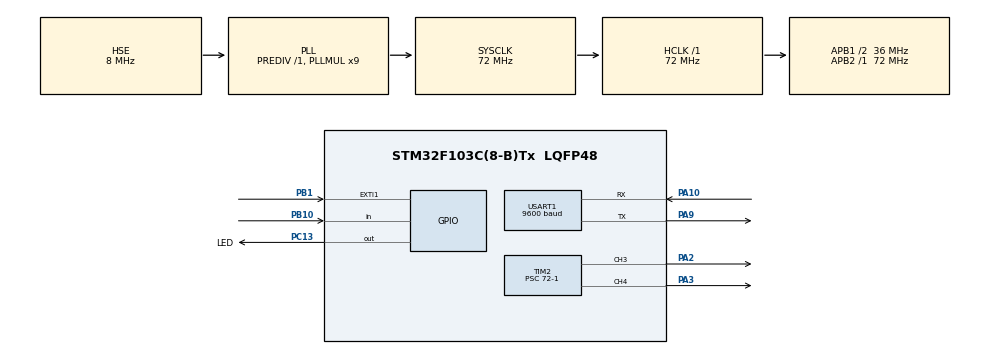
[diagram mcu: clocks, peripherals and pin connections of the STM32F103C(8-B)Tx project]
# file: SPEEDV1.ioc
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Mcu.Family=STM32F1
Mcu.Name=STM32F103C(8-B)Tx
Mcu.Package=LQFP48
NVIC.EXTI1_IRQn=true\:0\:0\:false\:false\:true\:true\:true\:true
NVIC.PriorityGroup=NVIC_PRIORITYGROUP_4
NVIC.TIM2_IRQn=true\:0\:0\:false\:false\:true\:true\:true\:true
NVIC.TIM3_IRQn=true\:0\:0\:false\:false\:true\:true\:true\:true
PA10.Mode=Asynchronous
PA10.Signal=USART1_RX
PA13.Mode=Serial_Wire
PA13.Signal=SYS_JTMS-SWDIO
PA14.Mode=Serial_Wire
PA14.Signal=SYS_JTCK-SWCLK
PA2.Signal=S_TIM2_CH3
PA3.Signal=S_TIM2_CH4
PA9.Mode=Asynchronous
PA9.Signal=USART1_TX
PB1.GPIO_PuPd=GPIO_PULLUP
PB1.Signal=GPXTI1
PB10.GPIO_PuPd=GPIO_PULLUP
PB10.Signal=GPIO_Input
PC13-TAMPER-RTC.GPIO_Label=LED
PC13-TAMPER-RTC.Signal=GPIO_Output
PD0-OSC_IN.Mode=HSE-External-Oscillator
PD0-OSC_IN.Signal=RCC_OSC_IN
PD1-OSC_OUT.Mode=HSE-External-Oscillator
PD1-OSC_OUT.Signal=RCC_OSC_OUT
ProjectManager.HeapSize=0x200
ProjectManager.StackSize=0x400
ProjectManager.TargetToolchain=STM32CubeIDE
RCC.AHBFreq_Value=72000000
RCC.APB1CLKDivider=RCC_HCLK_DIV2
RCC.APB1Freq_Value=36000000
RCC.APB1TimFreq_Value=72000000
RCC.APB2Freq_Value=72000000
RCC.APB2TimFreq_Value=72000000
RCC.HCLKFreq_Value=72000000
RCC.PLLMUL=RCC_PLL_MUL9
RCC.PLLSourceVirtual=RCC_PLLSOURCE_HSE
RCC.SYSCLKFreq_VALUE=72000000
RCC.SYSCLKSource=RCC_SYSCLKSOURCE_PLLCLK
RCC.USBFreq_Value=72000000
SH.S_TIM2_CH3.0=TIM2_CH3,PWM Generation3 CH3
SH.S_TIM2_CH4.0=TIM2_CH4,PWM Generation4 CH4
TIM2.Channel-PWM\ Generation3\ CH3=TIM_CHANNEL_3
TIM2.Channel-PWM\ Generation4\ CH4=TIM_CHANNEL_4
TIM2.Period=100-1
TIM2.Prescaler=72-1
TIM3.Period=10-1
TIM3.Prescaler=72-1
USART1.BaudRate=9600
USART1.VirtualMode=VM_ASYNC
VP_TIM2_VS_ClockSourceINT.Mode=Internal
VP_TIM3_VS_ClockSourceINT.Mode=Internal
board=custom

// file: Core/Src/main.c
/* USER CODE BEGIN Header */
/**
  ******************************************************************************
  * @file           : main.c
  * @brief          : Main program body
  ******************************************************************************
  * @attention
  *
  * Copyright (c) 2023 STMicroelectronics.
  * All rights reserved.
  *
  * This software is licensed under terms that can be found in the LICENSE file
  * in the root directory of this software component.
  * If no LICENSE file comes with this software, it is provided AS-IS.
  *
  ******************************************************************************
  */
/* USER CODE END Header */
#include "main.h"

/* USER CODE BEGIN Includes */
#include <stdlib.h>
#include <stdio.h>
int count;
volatile uint32_t time = 0 ;
uint32_t prevT= 0;
int posPrev = 0;
int speedd;
float vt;
float v1Filt = 0;
float v1FiltAc = 0;
float v1Prev = 0;
float v1PrevAc=0;
float eintergral;
char transchar[20];
float deltaT;
/* USER CODE END Includes */

TIM_HandleTypeDef htim2;
TIM_HandleTypeDef htim3;

UART_HandleTypeDef huart1;

void SystemClock_Config(void);
static void MX_GPIO_Init(void);
static void MX_TIM2_Init(void);
static void MX_TIM3_Init(void);
static void MX_USART1_UART_Init(void);

/* USER CODE BEGIN 0 */
void HAL_GPIO_EXTI_Callback(uint16_t GPIO_Pin)
{
  /* Prevent unused argument(s) compilation warning */

	if (GPIO_Pin == GPIO_PIN_1){
		if (HAL_GPIO_ReadPin(GPIOB,GPIO_PIN_10) == 0) count++;
		else count--;
	}

  /* NOTE: This function Should not be modified, when the callback is needed,
           the HAL_GPIO_EXTI_Callback could be implemented in the user file
   */
}

void HAL_TIM_PeriodElapsedCallback(TIM_HandleTypeDef *htim){
	time+=10;
}

void ControlMotor(int ChannelA, int ChannelB){
	__HAL_TIM_SET_COMPARE(&htim2, TIM_CHANNEL_3, 100-ChannelA);
	__HAL_TIM_SET_COMPARE(&htim2, TIM_CHANNEL_4, 100-ChannelB);
}

void setMotor(int dir , int pwmVal){
//	pwmVal = 100-pwmVal;
  if (dir == 1){
	  ControlMotor(0, pwmVal);
  }
  if (dir == -1){
	  ControlMotor(pwmVal, 0);
  }
  else{
	  ControlMotor(0, 0);
  }
}
/* USER CODE END 0 */

int main(void)
{

  /* MCU Configuration--------------------------------------------------------*/

  /* Reset of all peripherals, Initializes the Flash interface and the Systick. */
  HAL_Init();

  /* Configure the system clock */
  SystemClock_Config();

  /* Initialize all configured peripherals */
  MX_GPIO_Init();
  MX_TIM2_Init();
  MX_TIM3_Init();
  MX_USART1_UART_Init();
  /* USER CODE BEGIN 2 */
  HAL_TIM_PWM_Start(&htim2,TIM_CHANNEL_3);
  HAL_TIM_PWM_Start(&htim2,TIM_CHANNEL_4);
  HAL_TIM_Base_Start_IT(&htim3);
  /* USER CODE END 2 */

  /* Infinite loop */
  /* USER CODE BEGIN WHILE */
  while (1)
  {
	  int pos = 0;
	  		pos = count;

	  		uint32_t currT = time;

	  		deltaT = ((currT-prevT))/1.0e6;
	  		float veloc = (pos - posPrev)/deltaT;
	  		posPrev = pos;
	  		prevT = currT;
	  		float actualv = veloc/13*60;
	  		float v1 = veloc/650*60;
	  		v1Filt = 0.854*v1Filt + 0.0728*v1 + 0.0728*v1Prev;
	  		v1FiltAc = 0.854*v1FiltAc + 0.0728*actualv + 0.0728*v1PrevAc;
	  		v1Prev = v1;
	  		v1PrevAc = actualv;
	  		float vt = 100; //*50 imaginary value ~ 5000rpm

	  		// PI function
	  		float kp = 1;
	  		float ki = 10;
	  		float e = vt-v1Filt;
	  		eintergral += e*deltaT;
	  		int u = kp*e+ki*eintergral;

	  			int dir = -1;
	  			if(u<0){
	  				dir = 1;
	  			}
	  			int pwr = abs(u);
	  			if(pwr > 100){
	  				pwr = 100;
	  			}
	  			setMotor(dir,pwr);
	  			int v1Filt1 = (float)veloc;
	  			sprintf(transchar,"%d \r\n",v1Filt1);
	  			HAL_UART_Transmit(&huart1,(uint8_t*)transchar,sizeof(transchar),1000);

    /* USER CODE END WHILE */

  }
}

void SystemClock_Config(void)
{
  RCC_OscInitTypeDef RCC_OscInitStruct = {0};
  RCC_ClkInitTypeDef RCC_ClkInitStruct = {0};

  /** Initializes the RCC Oscillators according to the specified parameters
  * in the RCC_OscInitTypeDef structure.
  */
  RCC_OscInitStruct.OscillatorType = RCC_OSCILLATORTYPE_HSE;
  RCC_OscInitStruct.HSEState = RCC_HSE_ON;
  RCC_OscInitStruct.HSEPredivValue = RCC_HSE_PREDIV_DIV1;
  RCC_OscInitStruct.HSIState = RCC_HSI_ON;
  RCC_OscInitStruct.PLL.PLLState = RCC_PLL_ON;
  RCC_OscInitStruct.PLL.PLLSource = RCC_PLLSOURCE_HSE;
  RCC_OscInitStruct.PLL.PLLMUL = RCC_PLL_MUL9;
  if (HAL_RCC_OscConfig(&RCC_OscInitStruct) != HAL_OK)
  {
    Error_Handler();
  }

  /** Initializes the CPU, AHB and APB buses clocks
  */
  RCC_ClkInitStruct.ClockType = RCC_CLOCKTYPE_HCLK|RCC_CLOCKTYPE_SYSCLK
                              |RCC_CLOCKTYPE_PCLK1|RCC_CLOCKTYPE_PCLK2;
  RCC_ClkInitStruct.SYSCLKSource = RCC_SYSCLKSOURCE_PLLCLK;
  RCC_ClkInitStruct.AHBCLKDivider = RCC_SYSCLK_DIV1;
  RCC_ClkInitStruct.APB1CLKDivider = RCC_HCLK_DIV2;
  RCC_ClkInitStruct.APB2CLKDivider = RCC_HCLK_DIV1;

  if (HAL_RCC_ClockConfig(&RCC_ClkInitStruct, FLASH_LATENCY_2) != HAL_OK)
  {
    Error_Handler();
  }
}

static void MX_TIM2_Init(void)
{

  TIM_ClockConfigTypeDef sClockSourceConfig = {0};
  TIM_MasterConfigTypeDef sMasterConfig = {0};
  TIM_OC_InitTypeDef sConfigOC = {0};

  htim2.Instance = TIM2;
  htim2.Init.Prescaler = 72-1;
  htim2.Init.CounterMode = TIM_COUNTERMODE_UP;
  htim2.Init.Period = 100-1;
  htim2.Init.ClockDivision = TIM_CLOCKDIVISION_DIV1;
  htim2.Init.AutoReloadPreload = TIM_AUTORELOAD_PRELOAD_DISABLE;
  if (HAL_TIM_Base_Init(&htim2) != HAL_OK)
  {
    Error_Handler();
  }
  sClockSourceConfig.ClockSource = TIM_CLOCKSOURCE_INTERNAL;
  if (HAL_TIM_ConfigClockSource(&htim2, &sClockSourceConfig) != HAL_OK)
  {
    Error_Handler();
  }
  if (HAL_TIM_PWM_Init(&htim2) != HAL_OK)
  {
    Error_Handler();
  }
  sMasterConfig.MasterOutputTrigger = TIM_TRGO_RESET;
  sMasterConfig.MasterSlaveMode = TIM_MASTERSLAVEMODE_DISABLE;
  if (HAL_TIMEx_MasterConfigSynchronization(&htim2, &sMasterConfig) != HAL_OK)
  {
    Error_Handler();
  }
  sConfigOC.OCMode = TIM_OCMODE_PWM1;
  sConfigOC.Pulse = 0;
  sConfigOC.OCPolarity = TIM_OCPOLARITY_HIGH;
  sConfigOC.OCFastMode = TIM_OCFAST_DISABLE;
  if (HAL_TIM_PWM_ConfigChannel(&htim2, &sConfigOC, TIM_CHANNEL_3) != HAL_OK)
  {
    Error_Handler();
  }
  if (HAL_TIM_PWM_ConfigChannel(&htim2, &sConfigOC, TIM_CHANNEL_4) != HAL_OK)
  {
    Error_Handler();
  }
  HAL_TIM_MspPostInit(&htim2);

}

static void MX_TIM3_Init(void)
{

  TIM_ClockConfigTypeDef sClockSourceConfig = {0};
  TIM_MasterConfigTypeDef sMasterConfig = {0};

  htim3.Instance = TIM3;
  htim3.Init.Prescaler = 72-1;
  htim3.Init.CounterMode = TIM_COUNTERMODE_UP;
  htim3.Init.Period = 10-1;
  htim3.Init.ClockDivision = TIM_CLOCKDIVISION_DIV1;
  htim3.Init.AutoReloadPreload = TIM_AUTORELOAD_PRELOAD_DISABLE;
  if (HAL_TIM_Base_Init(&htim3) != HAL_OK)
  {
    Error_Handler();
  }
  sClockSourceConfig.ClockSource = TIM_CLOCKSOURCE_INTERNAL;
  if (HAL_TIM_ConfigClockSource(&htim3, &sClockSourceConfig) != HAL_OK)
  {
    Error_Handler();
  }
  sMasterConfig.MasterOutputTrigger = TIM_TRGO_RESET;
  sMasterConfig.MasterSlaveMode = TIM_MASTERSLAVEMODE_DISABLE;
  if (HAL_TIMEx_MasterConfigSynchronization(&htim3, &sMasterConfig) != HAL_OK)
  {
    Error_Handler();
  }

}

static void MX_USART1_UART_Init(void)
{

  huart1.Instance = USART1;
  huart1.Init.BaudRate = 9600;
  huart1.Init.WordLength = UART_WORDLENGTH_8B;
  huart1.Init.StopBits = UART_STOPBITS_1;
  huart1.Init.Parity = UART_PARITY_NONE;
  huart1.Init.Mode = UART_MODE_TX_RX;
  huart1.Init.HwFlowCtl = UART_HWCONTROL_NONE;
  huart1.Init.OverSampling = UART_OVERSAMPLING_16;
  if (HAL_UART_Init(&huart1) != HAL_OK)
  {
    Error_Handler();
  }

}

static void MX_GPIO_Init(void)
{
  GPIO_InitTypeDef GPIO_InitStruct = {0};

  /* GPIO Ports Clock Enable */
  __HAL_RCC_GPIOC_CLK_ENABLE();
  __HAL_RCC_GPIOD_CLK_ENABLE();
  __HAL_RCC_GPIOA_CLK_ENABLE();
  __HAL_RCC_GPIOB_CLK_ENABLE();

  /*Configure GPIO pin Output Level */
  HAL_GPIO_WritePin(LED_GPIO_Port, LED_Pin, GPIO_PIN_RESET);

  /*Configure GPIO pin : LED_Pin */
  GPIO_InitStruct.Pin = LED_Pin;
  GPIO_InitStruct.Mode = GPIO_MODE_OUTPUT_PP;
  GPIO_InitStruct.Pull = GPIO_NOPULL;
  GPIO_InitStruct.Speed = GPIO_SPEED_FREQ_LOW;
  HAL_GPIO_Init(LED_GPIO_Port, &GPIO_InitStruct);

  /*Configure GPIO pin : PB1 */
  GPIO_InitStruct.Pin = GPIO_PIN_1;
  GPIO_InitStruct.Mode = GPIO_MODE_IT_RISING;
  GPIO_InitStruct.Pull = GPIO_PULLUP;
  HAL_GPIO_Init(GPIOB, &GPIO_InitStruct);

  /*Configure GPIO pin : PB10 */
  GPIO_InitStruct.Pin = GPIO_PIN_10;
  GPIO_InitStruct.Mode = GPIO_MODE_INPUT;
  GPIO_InitStruct.Pull = GPIO_PULLUP;
  HAL_GPIO_Init(GPIOB, &GPIO_InitStruct);

  /* EXTI interrupt init*/
  HAL_NVIC_SetPriority(EXTI1_IRQn, 0, 0);
  HAL_NVIC_EnableIRQ(EXTI1_IRQn);

}

void Error_Handler(void)
{
  __disable_irq();
  while (1)
  {
  }
}
